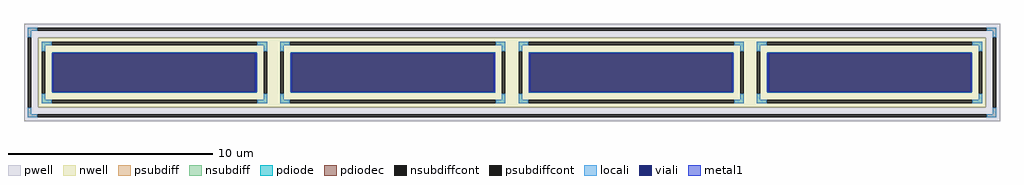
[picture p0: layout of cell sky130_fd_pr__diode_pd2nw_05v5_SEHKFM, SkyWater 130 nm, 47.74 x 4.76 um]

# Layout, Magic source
magic
tech sky130B
<< nwell >>
rect -2318 -169 2318 169
<< pwell >>
rect -2387 169 2387 238
rect -2387 -169 -2318 169
rect 2318 -169 2387 169
rect -2387 -238 2387 -169
<< psubdiff >>
rect -2369 203 -2321 220
rect 2321 203 2369 220
rect -2369 172 -2352 203
rect 2352 172 2369 203
rect -2369 -203 -2352 -172
rect 2352 -203 2369 -172
rect -2369 -220 -2321 -203
rect 2321 -220 2369 -203
<< nsubdiff >>
rect -2300 134 -2252 151
rect -1246 134 -1198 151
rect -2300 103 -2283 134
rect -1215 103 -1198 134
rect -2300 -134 -2283 -103
rect -1215 -134 -1198 -103
rect -2300 -151 -2252 -134
rect -1246 -151 -1198 -134
rect -1134 134 -1086 151
rect -80 134 -32 151
rect -1134 103 -1117 134
rect -49 103 -32 134
rect -1134 -134 -1117 -103
rect -49 -134 -32 -103
rect -1134 -151 -1086 -134
rect -80 -151 -32 -134
rect 32 134 80 151
rect 1086 134 1134 151
rect 32 103 49 134
rect 1117 103 1134 134
rect 32 -134 49 -103
rect 1117 -134 1134 -103
rect 32 -151 80 -134
rect 1086 -151 1134 -134
rect 1198 134 1246 151
rect 2252 134 2300 151
rect 1198 103 1215 134
rect 2283 103 2300 134
rect 1198 -134 1215 -103
rect 2283 -134 2300 -103
rect 1198 -151 1246 -134
rect 2252 -151 2300 -134
<< psubdiffcont >>
rect -2321 203 2321 220
rect -2369 -172 -2352 172
rect 2352 -172 2369 172
rect -2321 -220 2321 -203
<< nsubdiffcont >>
rect -2252 134 -1246 151
rect -2300 -103 -2283 103
rect -1215 -103 -1198 103
rect -2252 -151 -1246 -134
rect -1086 134 -80 151
rect -1134 -103 -1117 103
rect -49 -103 -32 103
rect -1086 -151 -80 -134
rect 80 134 1086 151
rect 32 -103 49 103
rect 1117 -103 1134 103
rect 80 -151 1086 -134
rect 1246 134 2252 151
rect 1198 -103 1215 103
rect 2283 -103 2300 103
rect 1246 -151 2252 -134
<< pdiode >>
rect -2249 94 -1249 100
rect -2249 -94 -2243 94
rect -1255 -94 -1249 94
rect -2249 -100 -1249 -94
rect -1083 94 -83 100
rect -1083 -94 -1077 94
rect -89 -94 -83 94
rect -1083 -100 -83 -94
rect 83 94 1083 100
rect 83 -94 89 94
rect 1077 -94 1083 94
rect 83 -100 1083 -94
rect 1249 94 2249 100
rect 1249 -94 1255 94
rect 2243 -94 2249 94
rect 1249 -100 2249 -94
<< pdiodec >>
rect -2243 -94 -1255 94
rect -1077 -94 -89 94
rect 89 -94 1077 94
rect 1255 -94 2243 94
<< locali >>
rect -2369 203 -2321 220
rect 2321 203 2369 220
rect -2369 172 -2352 203
rect 2352 172 2369 203
rect -2300 134 -2252 151
rect -1246 134 -1198 151
rect -2300 103 -2283 134
rect -1215 103 -1198 134
rect -2251 -94 -2243 94
rect -1255 -94 -1247 94
rect -2300 -134 -2283 -103
rect -1215 -134 -1198 -103
rect -2300 -151 -2252 -134
rect -1246 -151 -1198 -134
rect -1134 134 -1086 151
rect -80 134 -32 151
rect -1134 103 -1117 134
rect -49 103 -32 134
rect -1085 -94 -1077 94
rect -89 -94 -81 94
rect -1134 -134 -1117 -103
rect -49 -134 -32 -103
rect -1134 -151 -1086 -134
rect -80 -151 -32 -134
rect 32 134 80 151
rect 1086 134 1134 151
rect 32 103 49 134
rect 1117 103 1134 134
rect 81 -94 89 94
rect 1077 -94 1085 94
rect 32 -134 49 -103
rect 1117 -134 1134 -103
rect 32 -151 80 -134
rect 1086 -151 1134 -134
rect 1198 134 1246 151
rect 2252 134 2300 151
rect 1198 103 1215 134
rect 2283 103 2300 134
rect 1247 -94 1255 94
rect 2243 -94 2251 94
rect 1198 -134 1215 -103
rect 2283 -134 2300 -103
rect 1198 -151 1246 -134
rect 2252 -151 2300 -134
rect -2369 -203 -2352 -172
rect 2352 -203 2369 -172
rect -2369 -220 -2321 -203
rect 2321 -220 2369 -203
<< viali >>
rect -2243 -94 -1255 94
rect -1077 -94 -89 94
rect 89 -94 1077 94
rect 1255 -94 2243 94
<< metal1 >>
rect -2249 94 -1249 97
rect -2249 -94 -2243 94
rect -1255 -94 -1249 94
rect -2249 -97 -1249 -94
rect -1083 94 -83 97
rect -1083 -94 -1077 94
rect -89 -94 -83 94
rect -1083 -97 -83 -94
rect 83 94 1083 97
rect 83 -94 89 94
rect 1077 -94 1083 94
rect 83 -97 1083 -94
rect 1249 94 2249 97
rect 1249 -94 1255 94
rect 2243 -94 2249 94
rect 1249 -97 2249 -94
<< properties >>
string FIXED_BBOX 1206 -142 2291 142
string gencell sky130_fd_pr__diode_pd2nw_05v5
string library sky130
string parameters w 10 l 2 area 20.0 peri 24.0 nx 4 ny 1 dummy 0 lmin 0.45 wmin 0.45 elc 1 erc 1 etc 1 ebc 1 glc 1 grc 1 gtc 1 gbc 1 doverlap 0 compatible {sky130_fd_pr__diode_pd2nw_05v5 sky130_fd_pr__diode_pd2nw_05v5_lvt  sky130_fd_pr__diode_pd2nw_05v5_hvt sky130_fd_pr__diode_pd2nw_11v0} full_metal 1 vias 1 viagb 0 viagt 0 viagl 0 viagr 0
<< end >>
